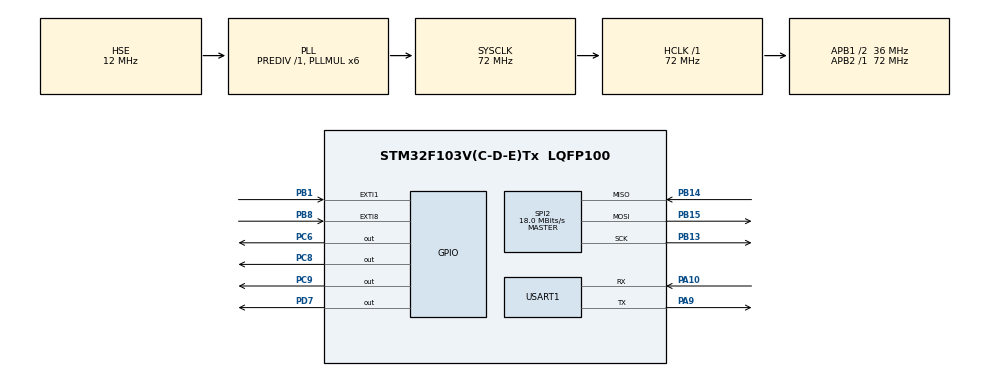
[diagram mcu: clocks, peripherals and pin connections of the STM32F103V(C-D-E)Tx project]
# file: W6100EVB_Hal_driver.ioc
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Mcu.Family=STM32F1
Mcu.Name=STM32F103V(C-D-E)Tx
Mcu.Package=LQFP100
NVIC.PriorityGroup=NVIC_PRIORITYGROUP_4
NVIC.USART1_IRQn=true\:0\:0\:false\:false\:true\:true\:true
OSC_IN.Mode=HSE-External-Oscillator
OSC_IN.Signal=RCC_OSC_IN
OSC_OUT.Mode=HSE-External-Oscillator
OSC_OUT.Signal=RCC_OSC_OUT
PA10.Mode=Asynchronous
PA10.Signal=USART1_RX
PA13.Mode=Serial_Wire
PA13.Signal=SYS_JTMS-SWDIO
PA14.Mode=Serial_Wire
PA14.Signal=SYS_JTCK-SWCLK
PA9.Mode=Asynchronous
PA9.Signal=USART1_TX
PB1.Signal=GPXTI1
PB13.Mode=Full_Duplex_Master
PB13.Signal=SPI2_SCK
PB14.Mode=Full_Duplex_Master
PB14.Signal=SPI2_MISO
PB15.Mode=Full_Duplex_Master
PB15.Signal=SPI2_MOSI
PB8.Signal=GPXTI8
PC6.Signal=GPIO_Output
PC8.Signal=GPIO_Output
PC9.Signal=GPIO_Output
PD7.Signal=GPIO_Output
ProjectManager.HeapSize=0x200
ProjectManager.StackSize=0x400
ProjectManager.TargetToolchain=TrueSTUDIO
RCC.AHBFreq_Value=72000000
RCC.APB1CLKDivider=RCC_HCLK_DIV2
RCC.APB1Freq_Value=36000000
RCC.APB1TimFreq_Value=72000000
RCC.APB2Freq_Value=72000000
RCC.APB2TimFreq_Value=72000000
RCC.HCLKFreq_Value=72000000
RCC.HSE_VALUE=12000000
RCC.PLLMUL=RCC_PLL_MUL6
RCC.PLLSourceVirtual=RCC_PLLSOURCE_HSE
RCC.SYSCLKFreq_VALUE=72000000
RCC.SYSCLKSource=RCC_SYSCLKSOURCE_PLLCLK
RCC.USBFreq_Value=72000000
SPI2.BaudRatePrescaler=SPI_BAUDRATEPRESCALER_2
SPI2.CalculateBaudRate=18.0 MBits/s
SPI2.Direction=SPI_DIRECTION_2LINES
SPI2.Mode=SPI_MODE_MASTER
SPI2.VirtualType=VM_MASTER
USART1.VirtualMode=VM_ASYNC
board=custom

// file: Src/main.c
/* USER CODE BEGIN Header */
/**
  ******************************************************************************
  * @file           : main.c
  * @brief          : Main program body
  ******************************************************************************
  * @attention
  *
  * <h2><center>&copy; Copyright (c) 2019 STMicroelectronics.
  * All rights reserved.</center></h2>
  *
  * This software component is licensed by ST under BSD 3-Clause license,
  * the "License"; You may not use this file except in compliance with the
  * License. You may obtain a copy of the License at:
  *                        opensource.org/licenses/BSD-3-Clause
  *
  ******************************************************************************
  */
/* USER CODE END Header */

#include "main.h"
#include "W6100/w6100.h"
#include "loopback/loopback.h"
#include "wizchip_conf.h"
#include "socket.h"

SPI_HandleTypeDef hspi2;

UART_HandleTypeDef huart1;

/* USER CODE BEGIN PV */
wiz_NetInfo gWIZNETINFO = { .mac = {0x00,0x08,0xdc,0x57,0x57,0x20},
							.ip = {192,168,0,13},
							.sn = {255, 255, 255, 0},
							.gw = {192, 168, 0, 1},
							.dns = {168, 126, 63, 1},
							.dhcp = NETINFO_STATIC,
							.lla = {0xfe,0x80, 0x00,0x00,
								 0x00,0x00, 0x00,0x00,
								 0x02,0x08, 0xdc,0xff,
								 0xfe,0x57, 0x57,0x61},
				            .gua={0x20,0x01,0x02,0xb8,
								 0x00,0x10,0x00,0x01,
								 0x02,0x08,0xdc,0xff,
								 0xfe,0x57,0x57,0x61},
				            .sn6={0xff,0xff,0xff,0xff,
								 0xff,0xff,0xff,0xff,
								 0x00,0x00,0x00, 0x00,
								 0x00,0x00,0x00,0x00},
				            .gw6={0xfe, 0x80, 0x00,0x00,
								  0x00,0x00,0x00,0x00,
								  0x02,0x00, 0x87,0xff,
								  0xfe,0x08, 0x4c,0x81}
							};

uint8_t WIZ_Dest_IP[4] = {192, 168, 0, 232};                  //DST_IP Address

uint8_t DestIP6_L[16] = {0xfe,0x80, 0x00,0x00,
						  0x00,0x00, 0x00,0x00,
                          0x31,0x71,0x98,0x05,
                          0x70,0x24,0x4b,0xb1
						};

uint8_t DestIP6_G[16] = {0x20,0x01,0x02,0xb8,
                          0x00,0x10,0x00,0x01,
                          0x31,0x71,0x98,0x05,
                          0x70,0x24,0x4b,0xb1
                         };

uint8_t Router_IP[16]= {0xff,0x02,0x00,0x00,
                          0x00,0x00,0x00,0x00,
                          0x00,0x00,0x00,0x00,
                          0x00,0x00,0x00,0x02
                         };
uint8_t data_buf[2048];
void print_network_information(void);
/* USER CODE END PV */

void SystemClock_Config(void);
static void MX_GPIO_Init(void);
static void MX_SPI2_Init(void);
static void MX_USART1_UART_Init(void);
/* USER CODE BEGIN PFP */
uint8_t rxData[2];

int _write(int fd, char *str, int len)
{
	for(int i=0; i<len; i++)
	{
		HAL_UART_Transmit(&huart1, (uint8_t *)&str[i], 1, 0xFFFF);
	}
	return len;
}

void HAL_UART_RxCpltCallback(UART_HandleTypeDef *huart) {

    /*
        This will be called once data is received successfully,
        via interrupts.
    */

     /*
       loop back received data
     */
     HAL_UART_Receive_IT(&huart1, rxData, 1);
     HAL_UART_Transmit(&huart1, rxData, 1, 1000);
}

/* USER CODE END PFP */

/* USER CODE BEGIN 0 */
void csEnable(void)
{
	HAL_GPIO_WritePin(GPIOD, GPIO_PIN_7, GPIO_PIN_RESET);
}

void csDisable(void)
{
	HAL_GPIO_WritePin(GPIOD, GPIO_PIN_7, GPIO_PIN_SET);
}

void spiWriteByte(uint8_t tx)
{
	uint8_t rx;
	HAL_SPI_TransmitReceive(&hspi2, &tx, &rx, 1, 10);
}

uint8_t spiReadByte(void)
{
	uint8_t rx = 0, tx = 0xFF;
	HAL_SPI_TransmitReceive(&hspi2, &tx, &rx, 1, 10);
	return rx;
}
void W6100Initialze(void)
{
	intr_kind temp;
	unsigned char W6100_AdrSet[2][4] = {{4,4,0,0},{4,4,0,0}};
	/*
	 */
	temp = IK_DEST_UNREACH;

	if(ctlwizchip(CW_INIT_WIZCHIP,(void*)W6100_AdrSet) == -1)
	{
		printf("W6100 initialized fail.\r\n");
	}

	if(ctlwizchip(CW_SET_INTRMASK,&temp) == -1)
	{
		printf("W6100 interrupt\r\n");
	}
	printf("interrupt mask: %02x\r\n",getIMR());

	do{//check phy status.
		if(ctlwizchip(CW_GET_PHYLINK,(void*)&temp) == -1){
			printf("Unknown PHY link status.\r\n");
		}
	}while(temp == PHY_LINK_OFF);
}
/* USER CODE END 0 */

int main(void)
{

  /* MCU Configuration--------------------------------------------------------*/

  /* Reset of all peripherals, Initializes the Flash interface and the Systick. */
  HAL_Init();

  /* Configure the system clock */
  SystemClock_Config();

  /* Initialize all configured peripherals */
  MX_GPIO_Init();
  MX_SPI2_Init();
  MX_USART1_UART_Init();
  /* USER CODE BEGIN 2 */
  //HAL_UART_Transmit(&huart1, (uint8_t *)"Hello! test module \n", 18, 10);
  //HAL_UART_Receive_IT(&huart1, rxData, 1);

  printf("< W6100EVB Hal Driver Loop Back TEST!! >\n");

  /* SPI method callback registration */
  reg_wizchip_spi_cbfunc(spiReadByte, spiWriteByte);
  /* CS function register */
  reg_wizchip_cs_cbfunc(csEnable,csDisable);

  NETUNLOCK();
  wizchip_setnetinfo(&gWIZNETINFO);
  W6100Initialze();

  printf("VERSION(%x) = %.2x \r\n", VER,getVER());
  print_network_information();
  /* USER CODE END 2 */

  /* Infinite loop */
  while (1)
  {
	loopback_tcps(0,5000, data_buf, AF_INET6);
	loopback_tcps(1,5001, data_buf, AF_INET);
  }
}

void SystemClock_Config(void)
{
  RCC_OscInitTypeDef RCC_OscInitStruct = {0};
  RCC_ClkInitTypeDef RCC_ClkInitStruct = {0};

  /** Initializes the CPU, AHB and APB busses clocks
  */
  RCC_OscInitStruct.OscillatorType = RCC_OSCILLATORTYPE_HSE;
  RCC_OscInitStruct.HSEState = RCC_HSE_ON;
  RCC_OscInitStruct.HSEPredivValue = RCC_HSE_PREDIV_DIV1;
  RCC_OscInitStruct.HSIState = RCC_HSI_ON;
  RCC_OscInitStruct.PLL.PLLState = RCC_PLL_ON;
  RCC_OscInitStruct.PLL.PLLSource = RCC_PLLSOURCE_HSE;
  RCC_OscInitStruct.PLL.PLLMUL = RCC_PLL_MUL6;
  if (HAL_RCC_OscConfig(&RCC_OscInitStruct) != HAL_OK)
  {
    Error_Handler();
  }
  /** Initializes the CPU, AHB and APB busses clocks
  */
  RCC_ClkInitStruct.ClockType = RCC_CLOCKTYPE_HCLK|RCC_CLOCKTYPE_SYSCLK
                              |RCC_CLOCKTYPE_PCLK1|RCC_CLOCKTYPE_PCLK2;
  RCC_ClkInitStruct.SYSCLKSource = RCC_SYSCLKSOURCE_PLLCLK;
  RCC_ClkInitStruct.AHBCLKDivider = RCC_SYSCLK_DIV1;
  RCC_ClkInitStruct.APB1CLKDivider = RCC_HCLK_DIV2;
  RCC_ClkInitStruct.APB2CLKDivider = RCC_HCLK_DIV1;

  if (HAL_RCC_ClockConfig(&RCC_ClkInitStruct, FLASH_LATENCY_2) != HAL_OK)
  {
    Error_Handler();
  }
}

static void MX_SPI2_Init(void)
{

  /* SPI2 parameter configuration*/
  hspi2.Instance = SPI2;
  hspi2.Init.Mode = SPI_MODE_MASTER;
  hspi2.Init.Direction = SPI_DIRECTION_2LINES;
  hspi2.Init.DataSize = SPI_DATASIZE_8BIT;
  hspi2.Init.CLKPolarity = SPI_POLARITY_LOW;
  hspi2.Init.CLKPhase = SPI_PHASE_1EDGE;
  hspi2.Init.NSS = SPI_NSS_SOFT;
  hspi2.Init.BaudRatePrescaler = SPI_BAUDRATEPRESCALER_2;
  hspi2.Init.FirstBit = SPI_FIRSTBIT_MSB;
  hspi2.Init.TIMode = SPI_TIMODE_DISABLE;
  hspi2.Init.CRCCalculation = SPI_CRCCALCULATION_DISABLE;
  hspi2.Init.CRCPolynomial = 10;
  if (HAL_SPI_Init(&hspi2) != HAL_OK)
  {
    Error_Handler();
  }

}

static void MX_USART1_UART_Init(void)
{

  huart1.Instance = USART1;
  huart1.Init.BaudRate = 115200;
  huart1.Init.WordLength = UART_WORDLENGTH_8B;
  huart1.Init.StopBits = UART_STOPBITS_1;
  huart1.Init.Parity = UART_PARITY_NONE;
  huart1.Init.Mode = UART_MODE_TX_RX;
  huart1.Init.HwFlowCtl = UART_HWCONTROL_NONE;
  huart1.Init.OverSampling = UART_OVERSAMPLING_16;
  if (HAL_UART_Init(&huart1) != HAL_OK)
  {
    Error_Handler();
  }

}

static void MX_GPIO_Init(void)
{
  GPIO_InitTypeDef GPIO_InitStruct = {0};

  /* GPIO Ports Clock Enable */
  __HAL_RCC_GPIOB_CLK_ENABLE();
  __HAL_RCC_GPIOC_CLK_ENABLE();
  __HAL_RCC_GPIOA_CLK_ENABLE();
  __HAL_RCC_GPIOD_CLK_ENABLE();

  /*Configure GPIO pin Output Level */
  HAL_GPIO_WritePin(GPIOC, GPIO_PIN_6|GPIO_PIN_8|GPIO_PIN_9, GPIO_PIN_RESET);

  /*Configure GPIO pin Output Level */
  HAL_GPIO_WritePin(GPIOD, GPIO_PIN_7, GPIO_PIN_RESET);

  /*Configure GPIO pins : PB1 PB8 */
  GPIO_InitStruct.Pin = GPIO_PIN_1|GPIO_PIN_8;
  GPIO_InitStruct.Mode = GPIO_MODE_IT_RISING;
  GPIO_InitStruct.Pull = GPIO_NOPULL;
  HAL_GPIO_Init(GPIOB, &GPIO_InitStruct);

  /*Configure GPIO pins : PC6 PC8 PC9 */
  GPIO_InitStruct.Pin = GPIO_PIN_6|GPIO_PIN_8|GPIO_PIN_9;
  GPIO_InitStruct.Mode = GPIO_MODE_OUTPUT_PP;
  GPIO_InitStruct.Pull = GPIO_NOPULL;
  GPIO_InitStruct.Speed = GPIO_SPEED_FREQ_LOW;
  HAL_GPIO_Init(GPIOC, &GPIO_InitStruct);

  /*Configure GPIO pin : PD7 */
  GPIO_InitStruct.Pin = GPIO_PIN_7;
  GPIO_InitStruct.Mode = GPIO_MODE_OUTPUT_PP;
  GPIO_InitStruct.Pull = GPIO_NOPULL;
  GPIO_InitStruct.Speed = GPIO_SPEED_FREQ_LOW;
  HAL_GPIO_Init(GPIOD, &GPIO_InitStruct);

}

/* USER CODE BEGIN 4 */
void print_network_information(void)
{
	wizchip_getnetinfo(&gWIZNETINFO);
	printf("Mac address: %02x:%02x:%02x:%02x:%02x:%02x\n\r",gWIZNETINFO.mac[0],gWIZNETINFO.mac[1],gWIZNETINFO.mac[2],gWIZNETINFO.mac[3],gWIZNETINFO.mac[4],gWIZNETINFO.mac[5]);
	printf("IP address : %d.%d.%d.%d\n\r",gWIZNETINFO.ip[0],gWIZNETINFO.ip[1],gWIZNETINFO.ip[2],gWIZNETINFO.ip[3]);
	printf("SN Mask	   : %d.%d.%d.%d\n\r",gWIZNETINFO.sn[0],gWIZNETINFO.sn[1],gWIZNETINFO.sn[2],gWIZNETINFO.sn[3]);
	printf("Gate way   : %d.%d.%d.%d\n\r",gWIZNETINFO.gw[0],gWIZNETINFO.gw[1],gWIZNETINFO.gw[2],gWIZNETINFO.gw[3]);
	printf("DNS Server : %d.%d.%d.%d\n\r",gWIZNETINFO.dns[0],gWIZNETINFO.dns[1],gWIZNETINFO.dns[2],gWIZNETINFO.dns[3]);
	printf("LLA  : %.2X%.2X:%.2X%.2X:%.2X%.2X:%.2X%.2X:%.2X%.2X:%.2X%.2X:%.2X%.2X:%.2X%.2X\r\n",gWIZNETINFO.lla[0],gWIZNETINFO.lla[1],gWIZNETINFO.lla[2],gWIZNETINFO.lla[3],\
									gWIZNETINFO.lla[4],gWIZNETINFO.lla[5],gWIZNETINFO.lla[6],gWIZNETINFO.lla[7],\
									gWIZNETINFO.lla[8],gWIZNETINFO.lla[9],gWIZNETINFO.lla[10],gWIZNETINFO.lla[11],\
									gWIZNETINFO.lla[12],gWIZNETINFO.lla[13],gWIZNETINFO.lla[14],gWIZNETINFO.lla[15]);
	printf("GUA  : %.2X%.2X:%.2X%.2X:%.2X%.2X:%.2X%.2X:%.2X%.2X:%.2X%.2X:%.2X%.2X:%.2X%.2X\n\r",gWIZNETINFO.gua[0],gWIZNETINFO.gua[1],gWIZNETINFO.gua[2],gWIZNETINFO.gua[3],\
									gWIZNETINFO.gua[4],gWIZNETINFO.gua[5],gWIZNETINFO.gua[6],gWIZNETINFO.gua[7],\
									gWIZNETINFO.gua[8],gWIZNETINFO.gua[9],gWIZNETINFO.gua[10],gWIZNETINFO.gua[11],\
									gWIZNETINFO.gua[12],gWIZNETINFO.gua[13],gWIZNETINFO.gua[14],gWIZNETINFO.gua[15]);
	printf("SN6  : %.2X%.2X:%.2X%.2X:%.2X%.2X:%.2X%.2X:%.2X%.2X:%.2X%.2X:%.2X%.2X:%.2X%.2X\n\r",gWIZNETINFO.sn6[0],gWIZNETINFO.sn6[1],gWIZNETINFO.sn6[2],gWIZNETINFO.sn6[3],\
									gWIZNETINFO.sn6[4],gWIZNETINFO.sn6[5],gWIZNETINFO.sn6[6],gWIZNETINFO.sn6[7],\
									gWIZNETINFO.sn6[8],gWIZNETINFO.sn6[9],gWIZNETINFO.sn6[10],gWIZNETINFO.sn6[11],\
									gWIZNETINFO.sn6[12],gWIZNETINFO.sn6[13],gWIZNETINFO.sn6[14],gWIZNETINFO.sn6[15]);
	printf("GW6  : %.2X%.2X:%.2X%.2X:%.2X%.2X:%.2X%.2X:%.2X%.2X:%.2X%.2X:%.2X%.2X:%.2X%.2X\r\n",gWIZNETINFO.gw6[0],gWIZNETINFO.gw6[1],gWIZNETINFO.gw6[2],gWIZNETINFO.gw6[3],\
									gWIZNETINFO.gw6[4],gWIZNETINFO.gw6[5],gWIZNETINFO.gw6[6],gWIZNETINFO.gw6[7],\
									gWIZNETINFO.gw6[8],gWIZNETINFO.gw6[9],gWIZNETINFO.gw6[10],gWIZNETINFO.gw6[11],\
									gWIZNETINFO.gw6[12],gWIZNETINFO.gw6[13],gWIZNETINFO.gw6[14],gWIZNETINFO.gw6[15]);

}
/* USER CODE END 4 */

void Error_Handler(void)
{
}

/************************ (C) COPYRIGHT STMicroelectronics *****END OF FILE****/
